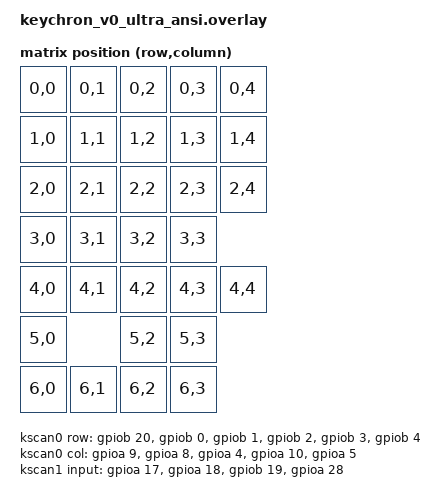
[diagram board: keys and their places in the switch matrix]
#include <dt-bindings/zmk/matrix_transform.h>
#include <dt-bindings/led/led.h>
#include <zephyr/dt-bindings/gpio/realtek-rtl87x2g-gpio.h>
#include "led_strip_v0_ultra.dtsi"

&gpioa {
    status = "okay";
};
&gpiob {
    status = "okay";
};
&usb {
    status = "okay";
};
// &timer2 {
//     status = "okay";
//     prescaler = <1>;
//     pwm2: pwm2 {
//         status = "disabled";// "okay";
//         pinctrl-0 = <&pwm2_default>;
//         pinctrl-names = "default";
//     };
// };
// &timer3 {
//     status = "okay";
//     prescaler = <1>;
//     pwm3: pwm3 {
//         status =  "disabled";//"okay";
//         pinctrl-0 = <&pwm3_default>;
//         pinctrl-names = "default";
//     };
// };

// &timer4 {
//     status = "okay";
//     prescaler = <1>;
//     pwm4: pwm4 {
//         // status =  "okay";
//         status =  "disabled";
//         pinctrl-0 = <&pwm4_default>;
//         pinctrl-1 = <&pwm4_sleep>;
//         pinctrl-names = "default","sleep";
//     };
// };
&timer2 {
    status = "okay";
    prescaler = <1>;
};
&timer3 {
    status = "okay";
    prescaler = <1>;
};
&timer8 {
    status = "okay";
};

&timer9 {
    status = "okay";
};

&corewdt {
    // status = "disabled";
	status = "okay";
    initial-timeout-ms = <5000>;
};
&aonwdt {
    // status = "okay";
    status = "disabled";
    initial-timeout-ms = <5000>;
};
/ {
	aliases {
        // watchdog = &aonwdt;
		watchdog = &corewdt;
	};
    
};

&adc {
    pinctrl-0 = <&adc_default>;
    pinctrl-1 = <&adc_sleep>;
    pinctrl-names = "default","sleep";
    #address-cells = <1>;
    #size-cells = <0>;
    status = "okay";
    is-bypass-mode= <0x08>;
    channel@8 {
        reg = <8>;
        zephyr,gain = "ADC_GAIN_1";
        zephyr,reference = "ADC_REF_INTERNAL";
        zephyr,acquisition-time = <ADC_ACQ_TIME_DEFAULT>;
        zephyr,resolution = <12>;
    };
};	
/ {
    chosen {
        // zmk,kscan = &kscan;
        zmk,kscan = &kscan_comp;
        zmk,matrix-transform = &default_transform;
        zmk,battery = &vbatt;
        //zmk,backlight = &backlight;
    };
    kscan_comp: kscan {
        compatible = "zmk,kscan-composite";
        rows = <7>;
        columns = <5>;
        // Include the direct GPIO driver...
        // make sure direct init first!
        direct {
            kscan = <&kscan1>;
            row-offset = <6>; // ...and shift it to not overlap
        };
        // Include the matrix driver
        matrix {
            kscan = <&kscan0>;
            // kscan = <&kscan>;
        };


        // status = "disabled";
    };
    kscan0: kscan_matrix {
        compatible = "zmk,kscan-gpio-matrix";

        diode-direction = "row2col";
        debounce-scan-period-ms =<1>;
        debounce-press-ms =<0>;
        debounce-release-ms=<50>;
 
        row-gpios
            = <&gpiob 20 (GPIO_ACTIVE_HIGH |GPIO_PULL_UP )>    //r0 P5_7
            , <&gpiob  0 (GPIO_ACTIVE_HIGH |GPIO_PULL_UP)>    //r1 P3_3
            , <&gpiob  1 (GPIO_ACTIVE_HIGH |GPIO_PULL_UP)>    //r2 P3_4
            , <&gpiob  2 (GPIO_ACTIVE_HIGH |GPIO_PULL_UP)>    //r3 P3_5
            , <&gpiob  3 (GPIO_ACTIVE_HIGH |GPIO_PULL_UP)>    //r4 P3_6
            , <&gpiob  4 (GPIO_ACTIVE_HIGH |GPIO_PULL_UP)>    //r5 P3_7
            ;
        col-gpios
            = <&gpioa 9  (GPIO_ACTIVE_HIGH|GPIO_PULL_DOWN)>  //c0 P1_1   
            , <&gpioa 8  (GPIO_ACTIVE_HIGH|GPIO_PULL_DOWN)>  //c1 P1_0      
            , <&gpioa 4  (GPIO_ACTIVE_HIGH|GPIO_PULL_DOWN)>  //c2 P0_4    
            , <&gpioa 10  (GPIO_ACTIVE_HIGH|GPIO_PULL_DOWN)>  //c3 P1_2   
            , <&gpioa 5  (GPIO_ACTIVE_HIGH|GPIO_PULL_DOWN)>  //c4 P0_5
           
            
            ;
        pinctrl-0 = <&gpio_default>;
        pinctrl-1 = <&gpio_sleep>;
        pinctrl-names = "default","sleep";

        // status ="disabled";
    };
    kscan1:kscan_direct {
        compatible = "zmk,kscan-gpio-direct";
        input-gpios
        = <&gpioa 17  (GPIO_ACTIVE_LOW )>  //bt        //32k_xi
        , <&gpioa 18  (GPIO_ACTIVE_LOW )>  //24g       //32k_xo
        , <&gpiob 19  (GPIO_ACTIVE_LOW )>  //usb det   //P5_6
        , <&gpioa 28  (GPIO_ACTIVE_LOW )>  //charging  //p2_7
        ;
        // toggle-mode;
        debounce-scan-period-ms=<20>;
        debounce-release-ms=<20>;
        pinctrl-0 = <&gpio_direct_default>;
        pinctrl-1 = <&gpio_direct_sleep>;
        pinctrl-names = "default","sleep";
    };
    // mode_monitor: mode_monitor {
    //     compatible = "zmk,mode-monitor-pin";
    //     ble-gpios = <&gpioa 9 (GPIO_ACTIVE_HIGH )>;
    //     ppt-gpios = <&gpioa 8 (GPIO_ACTIVE_HIGH )>;
    //     detect-usb-gpios = <&gpioa 24 (GPIO_ACTIVE_HIGH )>;
    //     win2mac-gpios = <&gpioa 31 (GPIO_ACTIVE_HIGH )>;
    // };
    vbatt: vbatt {
        compatible = "zmk,battery-voltage-divider";
        io-channels = <&adc 3>;
        output-ohms = <220000>;
        full-ohms = <(1000000 + 220000)>;
    };


    // led_rgb:led_rgb  {
    //     compatible = "pwm-leds";
    //     status =  "disabled";//"okay";
    //     pwm_led_0 {
    //         pwms = <&pwm2 0 10000 PWM_POLARITY_INVERTED>;
    //     };
    //     pwm_led_1 {
    //         pwms = <&pwm3 0 10000 PWM_POLARITY_INVERTED>;
    //     };
    //     pwm_led_2 {
    //         pwms = <&pwm4 0 10000 PWM_POLARITY_INVERTED>;
    //     };
    // };

    led_red: led_red{
        compatible = "gpio-leds";
        status ="okay";
        pwr-gpios {
            gpios= <&gpioa 27 GPIO_ACTIVE_HIGH>;  //chgled p2_6
        };
        
    };

    gpio_ctrls {
        compatible = "gpio-leds";
        usb_det:usb_det {
            gpios= <&gpiob 19 GPIO_ACTIVE_LOW>;  //p5_6
        };
        debug_io:debug_io {
            gpios= <&gpioa 28 GPIO_ACTIVE_LOW>;  //p2_7
        };
    };
    
	ppt: ppt {
		compatible = "zmk,ppt-node";
		enh-timers = <&timer8 &timer9>;
		status = "okay";
	};

    default_transform: matrix_transform {
        compatible = "zmk,matrix-transform";
        rows = <7>;
        columns = <5>;
        map = <
            //enc        //f1        //f2       //f3          //f4
            RC(0,0)     RC(0,1)     RC(0,2)     RC(0,3)    RC(0,4) 
             //m1       //num        // /         // *       // -  
            RC(1,0)     RC(1,1)     RC(1,2)     RC(1,3)    RC(1,4) 
            //m2         //7         //8        // 9        // +   
            RC(2,0)     RC(2,1)     RC(2,2)     RC(2,3)    RC(2,4) 
            //m3        //4         //5         //6             
            RC(3,0)     RC(3,1)     RC(3,2)     RC(3,3)     
             //m4       //1          //2         //3       //enter  
            RC(4,0)     RC(4,1)     RC(4,2)     RC(4,3)    RC(4,4)  
            //m5                     //0         //.
            RC(5,0)                 RC(5,2)     RC(5,3)   
            //bt        //24g       //usb       //ch          
            RC(6,0)     RC(6,1)     RC(6,2)     RC(6,3)        
        >;
    };


    sensors: sensors {
        compatible = "zmk,keymap-sensors";
        status = "okay";
        sensors = <&aon_qdec>;
        triggers-per-rotation = <10>;
    };
 };



&pinctrl {
    adc_default: adc_default {
        group1 {
             psels = <RTL87X2G_PSEL(SW_MODE, P2_3, DIR_IN, DRV_LOW, PULL_NONE)>;
        };
    };

    adc_sleep: adc_sleep {
        group1 {
             psels = <RTL87X2G_PSEL(SW_MODE, P2_3, DIR_IN, DRV_LOW, PULL_DOWN)>;
        };
    };
    
    
    pwm2_default: pwm2_default {
        group1 {
            psels = <RTL87X2G_PSEL(TIMER_PWM2, P2_4,DIR_OUT, DRV_LOW, PULL_DOWN)>;
        };
    };
    pwm3_default: pwm3_default {
        group1 {
            psels = <RTL87X2G_PSEL(TIMER_PWM3, P2_3,DIR_OUT, DRV_LOW, PULL_DOWN)>;
        };
    };
    pwm4_default: pwm4_default {
        group1 {
            psels = <RTL87X2G_PSEL(TIMER_PWM4, P2_4,DIR_OUT, DRV_LOW, PULL_DOWN)>;
        };
    };
    pwm4_sleep: pwm4_sleep {
        group1 {
            psels = <RTL87X2G_PSEL(SW_MODE, P2_4,DIR_IN, DRV_LOW, PULL_DOWN)>;
        };
    };
    uart2_default: uart2_default {
        group1 {
            psels = <RTL87X2G_PSEL(UART2_TX, P3_0, DIR_OUT, DRV_HIGH, PULL_UP)>,
            <RTL87X2G_PSEL(UART2_RX, P3_1, DIR_IN, DRV_HIGH, PULL_UP)>;
        };
    };
    uart2_sleep: uart2_sleep {
        group1 {
            psels = <RTL87X2G_PSEL(SW_MODE, P3_0, DIR_IN, DRV_HIGH, PULL_UP)>,
            <RTL87X2G_PSEL(SW_MODE, P3_1, DIR_IN, DRV_HIGH, PULL_UP)>;
        };
    };
    gpio_default: gpio_default {
        group1 {
            psels = 
             <RTL87X2G_PSEL(DWGPIO, P5_7, DIR_OUT, DRV_HIGH, PULL_UP)>,
             <RTL87X2G_PSEL(DWGPIO, P3_3, DIR_OUT, DRV_HIGH, PULL_UP)>,
             <RTL87X2G_PSEL(DWGPIO, P3_4, DIR_OUT, DRV_HIGH, PULL_UP)>,
             <RTL87X2G_PSEL(DWGPIO, P3_5, DIR_OUT, DRV_HIGH, PULL_UP)>,
             <RTL87X2G_PSEL(DWGPIO, P3_6, DIR_OUT, DRV_HIGH, PULL_UP)>,
             <RTL87X2G_PSEL(DWGPIO, P3_7, DIR_OUT, DRV_HIGH, PULL_UP)>;
             bias-pull-strong;
        };
        group2 {
            psels = 
             <RTL87X2G_PSEL(DWGPIO, P1_1, DIR_IN, DRV_LOW, PULL_DOWN)>,
             <RTL87X2G_PSEL(DWGPIO, P1_0, DIR_IN, DRV_LOW, PULL_DOWN)>,
             <RTL87X2G_PSEL(DWGPIO, P0_4, DIR_IN, DRV_LOW, PULL_DOWN)>,
             <RTL87X2G_PSEL(DWGPIO, P1_2, DIR_IN, DRV_LOW, PULL_DOWN)>,
             <RTL87X2G_PSEL(DWGPIO, P0_5, DIR_IN, DRV_LOW, PULL_DOWN)>;
           
             bias-pull-strong;
        };
    };
    gpio_sleep: gpio_sleep {
        group1 {
            psels = 
             <RTL87X2G_PSEL(SW_MODE, P5_7, DIR_OUT, DRV_HIGH, PULL_UP)>,
             <RTL87X2G_PSEL(SW_MODE, P3_3, DIR_OUT, DRV_HIGH, PULL_UP)>,
             <RTL87X2G_PSEL(SW_MODE, P3_4, DIR_OUT, DRV_HIGH, PULL_UP)>,
             <RTL87X2G_PSEL(SW_MODE, P3_5, DIR_OUT, DRV_HIGH, PULL_UP)>,
             <RTL87X2G_PSEL(SW_MODE, P3_6, DIR_OUT, DRV_HIGH, PULL_UP)>,
             <RTL87X2G_PSEL(SW_MODE, P3_7, DIR_OUT, DRV_HIGH, PULL_UP)>;
        };
        group2 {
            psels = 
             <RTL87X2G_PSEL(SW_MODE, P1_1, DIR_IN, DRV_LOW, PULL_DOWN)>,
             <RTL87X2G_PSEL(SW_MODE, P1_0, DIR_IN, DRV_LOW, PULL_DOWN)>,
             <RTL87X2G_PSEL(SW_MODE, P0_4, DIR_IN, DRV_LOW, PULL_DOWN)>,
             <RTL87X2G_PSEL(SW_MODE, P1_2, DIR_IN, DRV_LOW, PULL_DOWN)>,
             <RTL87X2G_PSEL(SW_MODE, P0_5, DIR_IN, DRV_LOW, PULL_DOWN)>;
            
             wakeup-high;
        };
    };
    qdec_default: qdec_default {
        group1 {
            psels = <RTL87X2G_PSEL(QDPH0_IN_P9_0_P9_1, P9_0, DIR_IN, DRV_LOW, PULL_UP)>,
             <RTL87X2G_PSEL(QDPH0_IN_P9_0_P9_1, P9_1, DIR_IN, DRV_LOW, PULL_UP)>;
             wakeup-low;
        };
    };
    qdec_sleep: qdec_sleep {
        group1 {
            psels = <RTL87X2G_PSEL(SW_MODE, P9_0, DIR_IN, DRV_HIGH, PULL_NONE)>,
             <RTL87X2G_PSEL(SW_MODE, P9_1, DIR_IN, DRV_HIGH, PULL_NONE)>;

        };
    };
    gpio_direct_default:gpio_direct_default{
        group1 {
            psels = 
             
             <RTL87X2G_PSEL(DWGPIO, XI32K, DIR_IN, DRV_HIGH, PULL_NONE)>,
             <RTL87X2G_PSEL(DWGPIO, XO32K, DIR_IN, DRV_HIGH, PULL_NONE)>,
             <RTL87X2G_PSEL(DWGPIO, P5_6, DIR_IN, DRV_HIGH, PULL_NONE)>,
             <RTL87X2G_PSEL(DWGPIO, P2_7, DIR_IN, DRV_HIGH, PULL_UP)>;//charge pin leak current ,has to pull up！
        };
    };
    gpio_direct_sleep:gpio_direct_sleep{
        group1 {
            psels = 
             <RTL87X2G_PSEL(SW_MODE, XI32K, DIR_IN, DRV_HIGH, PULL_NONE)>,
             <RTL87X2G_PSEL(SW_MODE, XO32K, DIR_IN, DRV_HIGH, PULL_NONE)>,
             <RTL87X2G_PSEL(SW_MODE, P5_6, DIR_IN, DRV_HIGH, PULL_NONE)>,
             <RTL87X2G_PSEL(SW_MODE, P2_7, DIR_IN, DRV_HIGH, PULL_UP)>;//charge pin leak current ,has to pull up！
            //  bias-pull-strong;
        };
    };
};

&aon_qdec {
    status = "okay";
    // status = "disabled";
    pinctrl-0 = <&qdec_default>;
    pinctrl-1 = <&qdec_sleep>;
    pinctrl-names = "default","sleep";
    counts-per-revolution =<4>;
};

// &uart2 {
// 	status = "disabled";
// };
